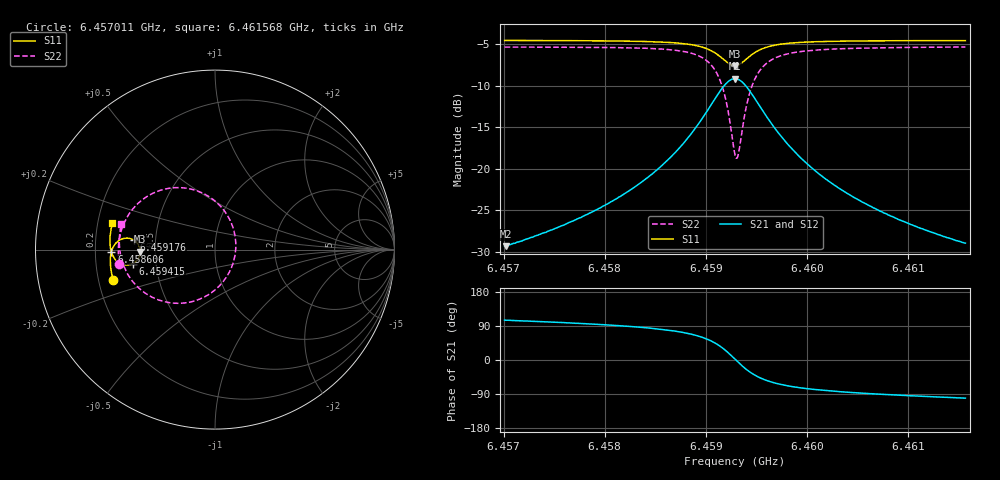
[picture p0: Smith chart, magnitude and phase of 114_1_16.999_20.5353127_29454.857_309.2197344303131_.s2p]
#  HZ  S  RI  R  50.00
! Rohde & Schwarz Vector Network Analyzer
! Rohde-Schwarz,ZNB20-2Port,1311601062101988,3.16
! Created: UTC 3/20/2024, 10:57:09 PM
! freq[Hz]  re:S11  im:S11  re:S21  im:S21  re:S12  im:S12  re:S22  im:S22
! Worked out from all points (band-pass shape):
!   401 points, 6.457011 GHz to 6.461568 GHz, reference 50 ohm
!   highest |S21| = -9.15 dB at 6.459289 GHz (marker M1); lowest = -29.4 dB at 6.457022 GHz (marker M2)
!   |S21| within 3 dB of the highest: 6.459061 GHz to 6.459517 GHz (455.4 kHz wide, 0.00705 % of centre)
!   lowest |S11| = -7.6 dB at 6.459289 GHz (marker M3), VSWR 2.42, Z = 20.6 - j0.546 ohm
!   |S11| at or under -10 dB: nowhere
!   |S22| runs from -18.8 to -5.3 dB; largest |S21 - S12| = 0.014
!   S11 on the Smith chart (normalised r, x): 6.457011 GHz: 0.26, -0.14; 6.458606 GHz: 0.27, -0.01; 6.459176 GHz: 0.38, +0.05; 6.459415 GHz: 0.37, -0.07; 6.461568 GHz: 0.26, +0.12
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6.4570108e9  -0.5668 -0.171  -0.00893 0.0329  -0.00712 0.0327  -0.5337 -0.0815
6.4570222e9  -0.5671 -0.1699  -0.00875 0.0329  -0.00709 0.0329  -0.5338 -0.0803
6.4577742e9  -0.5806 -0.104  -0.00557 0.0508  -0.003 0.0502  -0.5385 0.00853
6.4581843e9  -0.5833 -0.0629  0.000277 0.0699  0.00358 0.0684  -0.5302 0.0736
6.4585375e9  -0.5794 -0.0205  0.0146 0.0995  0.0186 0.0969  -0.5039 0.1534
6.4586059e9  -0.5772 -0.0109  0.0199 0.108  0.024 0.1048  -0.4939 0.1735
6.4587996e9  -0.5645 0.0196  0.0467 0.139  0.0509 0.1341  -0.4436 0.2426
6.4589477e9  -0.5417 0.046  0.0925 0.1699  0.0957 0.1632  -0.3592 0.3073
6.4590844e9  -0.4972 0.0635  0.1806 0.1864  0.1814 0.1791  -0.1986 0.3453
6.4591755e9  -0.452 0.053  0.2711 0.1547  0.2716 0.1488  -0.0311 0.2936
6.4592439e9  -0.4228 0.0205  0.3321 0.0819  0.3343 0.0766  0.0844 0.1624
6.4592895e9  -0.4159 -0.0109  0.3484 0.0132  0.3522 0.00629  0.1159 0.0342
6.4593237e9  -0.4199 -0.035  0.3422 -0.0396  0.3463 -0.0488  0.1037 -0.0657
6.4593692e9  -0.4356 -0.0614  0.3132 -0.0999  0.3157 -0.1119  0.0448 -0.1792
6.4594148e9  -0.458 -0.0778  0.2708 -0.1411  0.2699 -0.1544  -0.041 -0.2538
6.459506e9  -0.5017 -0.0849  0.1852 -0.172  0.179 -0.1837  -0.2112 -0.2992
6.4596541e9  -0.5459 -0.0643  0.0968 -0.1581  0.0882 -0.1642  -0.3792 -0.2487
6.4598136e9  -0.5678 -0.0368  0.0516 -0.1297  0.044 -0.1325  -0.4597 -0.1762
6.4600528e9  -0.5807 -0.00132  0.0224 -0.098  0.0165 -0.0985  -0.5075 -0.0934
6.460406e9  -0.5855 0.0409  0.006 -0.0703  0.00194 -0.0698  -0.5292 -0.0121
6.4608162e9  -0.5838 0.0822  -0.00143 -0.0523  -0.00429 -0.0514  -0.5331 0.0538
6.4615682e9  -0.5719 0.149  -0.00651 -0.035  -0.00825 -0.034  -0.5217 0.1432
